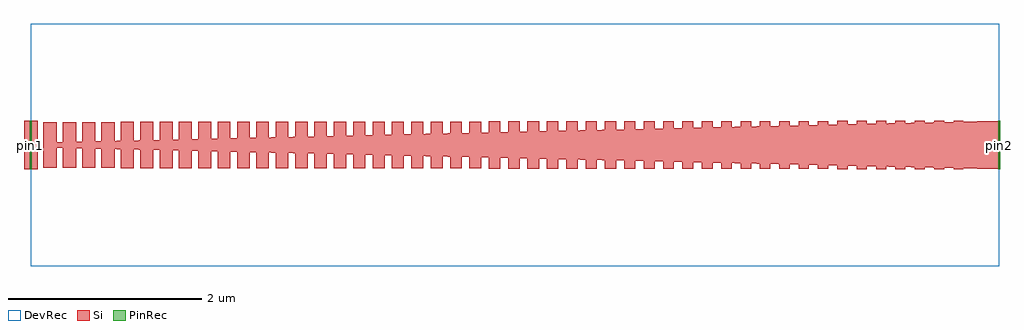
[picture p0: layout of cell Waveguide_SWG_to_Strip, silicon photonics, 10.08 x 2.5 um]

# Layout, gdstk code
import gdstk
lib = gdstk.Library(unit=1e-6, precision=1e-09)
def R(c, l, rs):  # rectangles x0, y0, x1, y1
    for r in rs: c.add(gdstk.rectangle(r[:2], r[2:], *l))
def P(c, l, *ps):  # polygons
    for p in ps: c.add(gdstk.Polygon(p, *l))
Si = (1, 0)
PinRec = (1, 10)
DevRec = (68, 0)

waveguide_swg_to_strip = lib.new_cell('Waveguide_SWG_to_Strip')
R(waveguide_swg_to_strip, Si, [(-0.07,-0.25,0.07,0.25), (9.13,-0.249,9.232,0.249), (9.33,-0.249,9.432,0.249), (9.53,-0.249,9.631,0.249), (8.33,-0.248,8.436,0.248), (8.53,-0.248,8.635,0.248), (8.73,-0.248,8.834,0.248), (8.93,-0.248,9.033,0.248), (7.53,-0.247,7.639,0.247), (7.73,-0.247,7.838,0.247), (7.93,-0.247,8.037,0.247), (8.13,-0.247,8.237,0.247), (6.93,-0.246,7.041,0.246), (7.13,-0.246,7.241,0.246), (7.33,-0.246,7.44,0.246), (6.13,-0.245,6.245,0.245), (6.33,-0.245,6.444,0.245), (6.53,-0.245,6.643,0.245), (6.73,-0.245,6.842,0.245), (5.33,-0.244,5.448,0.244), (5.53,-0.244,5.647,0.244), (5.73,-0.244,5.846,0.244), (5.93,-0.244,6.046,0.244), (4.73,-0.243,4.85,0.243), (4.93,-0.243,5.05,0.243), (5.13,-0.243,5.249,0.243), (3.93,-0.242,4.054,0.242), (4.13,-0.242,4.253,0.242), (4.33,-0.242,4.452,0.242), (4.53,-0.242,4.651,0.242), (3.13,-0.241,3.257,0.241), (3.33,-0.241,3.456,0.241), (3.53,-0.241,3.655,0.241), (3.73,-0.241,3.854,0.241), (2.33,-0.24,2.46,0.24), (2.53,-0.24,2.659,0.24), (2.73,-0.24,2.859,0.24), (2.93,-0.24,3.058,0.24), (1.73,-0.239,1.863,0.239), (1.93,-0.239,2.062,0.239), (2.13,-0.239,2.261,0.239), (0.93,-0.238,1.066,0.238), (1.13,-0.238,1.265,0.238), (1.33,-0.238,1.464,0.238), (1.53,-0.238,1.663,0.238), (0.13,-0.237,0.269,0.237), (0.33,-0.237,0.468,0.237), (0.53,-0.237,0.668,0.237), (0.73,-0.237,0.867,0.237)])
P(waveguide_swg_to_strip, Si, [(10,-0.25),(0.204,-0.03),(0.204,0.03),(10,0.25)])
R(waveguide_swg_to_strip, DevRec, [(0,-1.25,10,1.25)])
waveguide_swg_to_strip.add(gdstk.FlexPath([(0.01,0),(-0.01,0)], 0.5, ends="flush", simple_path=True, layer=1, datatype=10))  # PinRec
waveguide_swg_to_strip.add(gdstk.FlexPath([(9.99,0),(10.01,0)], 0.5, ends="flush", simple_path=True, layer=1, datatype=10))  # PinRec
waveguide_swg_to_strip.add(gdstk.Label('pin1', (0,0), layer=1, texttype=10))
waveguide_swg_to_strip.add(gdstk.Label('pin2', (10,0), layer=1, texttype=10))

lib.write_gds('Waveguide_SWG_to_Strip.gds')
